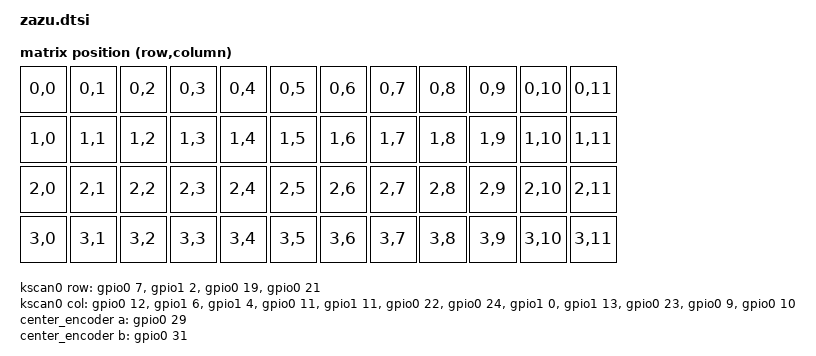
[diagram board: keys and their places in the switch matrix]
/*
 * Copyright (c) 2021 The ZMK Contributors
 *
 * SPDX-License-Identifier: MIT
 */

#include <dt-bindings/zmk/matrix_transform.h>
#include <zephyr/dt-bindings/input/input-event-codes.h>
#include <input/processors.dtsi>
#include <dt-bindings/zmk/input_transform.h>
#include <input/processors.dtsi>
#include "zazu-layout.dtsi"

#define SNIPER 6
&zazu_layout {
    transform = <&default_transform>;
};

/ {
    chosen {
        zmk,kscan = &kscan0;
        zephyr,display = &oled;
    };

    default_transform: keymap_transform_0 {
        compatible = "zmk,matrix-transform";
        columns = <12>;
        rows = <4>;
        map = <
RC(0,0) RC(0,1) RC(0,2) RC(0,3) RC(0,4) RC(0,5) RC(0,6) RC(0,7) RC(0,8) RC(0,9) RC(0,10) RC(0,11) 
RC(1,0) RC(1,1) RC(1,2) RC(1,3) RC(1,4) RC(1,5) RC(1,6) RC(1,7) RC(1,8) RC(1,9) RC(1,10) RC(1,11) 
RC(2,0) RC(2,1) RC(2,2) RC(2,3) RC(2,4) RC(2,5) RC(2,6) RC(2,7) RC(2,8) RC(2,9) RC(2,10) RC(2,11)
RC(3,0) RC(3,1) RC(3,2) RC(3,3) RC(3,4) RC(3,5) RC(3,6) RC(3,7) RC(3,8) RC(3,9) RC(3,10) RC(3,11)
        >;
    };

    kscan0: kscan {
        compatible = "zmk,kscan-gpio-matrix";

        diode-direction = "col2row";
		col-gpios
			= <&gpio0 12 GPIO_ACTIVE_HIGH>
			, <&gpio1 6 GPIO_ACTIVE_HIGH>
			, <&gpio1 4 GPIO_ACTIVE_HIGH>
			, <&gpio0 11 GPIO_ACTIVE_HIGH>
			, <&gpio1 11 GPIO_ACTIVE_HIGH>
			, <&gpio0 22 GPIO_ACTIVE_HIGH>
			, <&gpio0 24 GPIO_ACTIVE_HIGH>
			, <&gpio1 0 GPIO_ACTIVE_HIGH>
			, <&gpio1 13 GPIO_ACTIVE_HIGH>
			, <&gpio0 23 GPIO_ACTIVE_HIGH>
            , <&gpio0 9 GPIO_ACTIVE_HIGH>
            , <&gpio0 10 GPIO_ACTIVE_HIGH>
			;
		row-gpios
			= <&gpio0 7 (GPIO_ACTIVE_HIGH | GPIO_PULL_DOWN)>
			, <&gpio1 2 (GPIO_ACTIVE_HIGH | GPIO_PULL_DOWN)>
			, <&gpio0 19  (GPIO_ACTIVE_HIGH | GPIO_PULL_DOWN)>
			, <&gpio0 21 (GPIO_ACTIVE_HIGH | GPIO_PULL_DOWN)>
			;

    };
    center_encoder: encoder_center {
		compatible = "alps,ec11";
		label = "CENTER_ENCODER";
		a-gpios = <&gpio0 29 (GPIO_ACTIVE_HIGH | GPIO_PULL_DOWN)>;
		b-gpios = <&gpio0 31 (GPIO_ACTIVE_HIGH | GPIO_PULL_DOWN)>;
		resolution = <2>;
        steps = <30>;
		status = "okay";
	};
	sensors {
		compatible = "zmk,keymap-sensors";
		sensors = <&center_encoder>;
	};

};

&pinctrl {
    i2c0_default: i2c0_default {
        group1 {
            psels = <NRF_PSEL(TWIM_SDA, 1, 15)>,
                <NRF_PSEL(TWIM_SCL, 1, 8)>;
        };
    };

    i2c0_sleep: i2c0_sleep {
        group1 {
            psels = <NRF_PSEL(TWIM_SDA, 1, 15)>,
                <NRF_PSEL(TWIM_SCL, 1, 8)>;
            low-power-enable;
        };
    };	

    spi1_default: spi1_default {
        group1 {
            psels = <NRF_PSEL(SPIM_SCK, 0, 8)>,
                <NRF_PSEL(SPIM_MOSI, 0, 17)>,
                <NRF_PSEL(SPIM_MISO, 0, 17)>;
        };
    };

    spi1_sleep: spi1_sleep {
        group1 {
            psels = <NRF_PSEL(SPIM_SCK, 0, 8)>,
                <NRF_PSEL(SPIM_MOSI, 0, 17)>,
                <NRF_PSEL(SPIM_MISO, 0, 17)>;
            low-power-enable;
        };
    };
};

&i2c0 {
	status = "okay";

	compatible = "nordic,nrf-twi";
    pinctrl-0 = <&i2c0_default>;
    pinctrl-1 = <&i2c0_sleep>;
	oled: ssd1306@3c {
        compatible = "solomon,ssd1306fb";
        reg = <0x3c>;
        width = <128>;
        height = <32>;
        segment-offset = <0>;
        page-offset = <0>;
        display-offset = <0>;
        multiplex-ratio = <31>;
        segment-remap;
        com-invdir;
        com-sequential;
        inversion-on;
        prechargep = <0x22>;
	};
};

&uart0 {
	status = "disabled";
};

zephyr_udc0: &usbd {
    status = "okay";
};

&spi1 {
	compatible = "nordic,nrf-spim";
	status = "okay";
    pinctrl-0 = <&spi1_default>;
	pinctrl-1 = <&spi1_sleep>;
	pinctrl-names = "default", "sleep";
	cs-gpios = <&gpio0 20 GPIO_ACTIVE_LOW>;
	pd0: pd@0 {
		compatible = "pixart,pmw3610";
		status = "okay";
		label = "TRACKBALL0";
		reg = <0>;
		spi-max-frequency = <4000000>;
	    irq-gpios = <&gpio0 6 (GPIO_ACTIVE_LOW | GPIO_PULL_UP)>;
	    cpi = <600>;
	    evt-type = <INPUT_EV_REL>;
	    x-input-code = <INPUT_REL_X>;
	    y-input-code = <INPUT_REL_Y>;
	};
};


/ {
  trackball_listener: trackball_listener {
    compatible = "zmk,input-listener";
    status = "okay";
    device = <&pd0>;
    snipe {
      layers = <SNIPER>;
      input-processors = <&zip_xy_scaler 1 3>;
    };
  };
}; 

